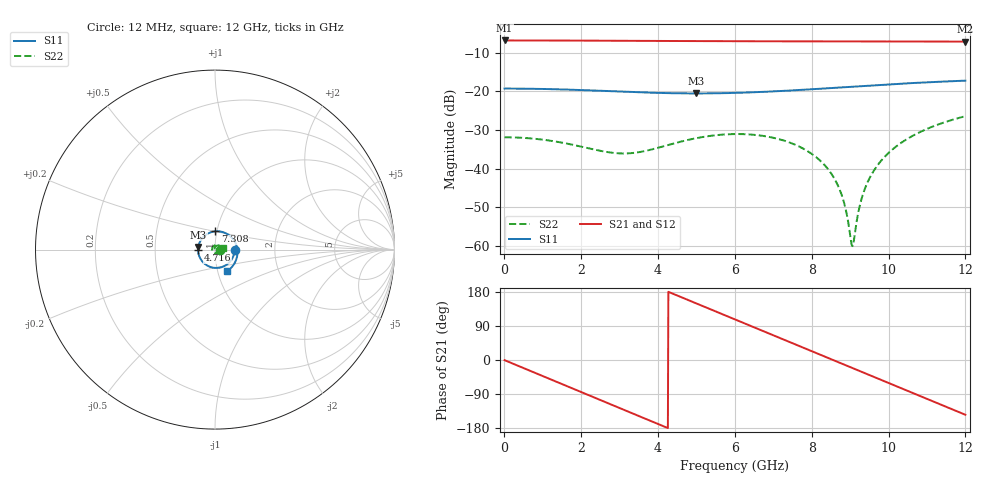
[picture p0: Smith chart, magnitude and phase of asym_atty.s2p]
! 2-Port simulation of an asymmetrically matched attenuator
# GHz S MA R 50
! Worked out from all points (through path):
!   1000 points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, 12 MHz to 12 GHz, reference 50 ohm
!   highest |S21| = -6.82 dB at 12 MHz (marker M1); lowest = -7.1 dB at 12 GHz (marker M2)
!   group delay of S21, straight-line fit = 117 ps
!   lowest |S11| = -20.5 dB at 5.004 GHz (marker M3), VSWR 1.21, Z = 41.5 + j1.25 ohm
!   |S11| at or under -10 dB: start of sweep to end of sweep
!   |S22| runs from -60.0 to -26.4 dB; largest |S21 - S12| = 9e-06
!   S11 on the Smith chart (normalised r, x): 12 MHz: 1.24, -0.00; 4.716 GHz: 0.83, -0.01; 7.308 GHz: 0.98, +0.20; 12 GHz: 1.11, -0.27
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0.012  0.1088 -0.4  0.4561 -0.5  0.4561 -0.5  0.02551 -0.5
0.9  0.1078 -31.7  0.4557 -38.0  0.4557 -38.0  0.02409 -35.4
2.016  0.1041 -72.2  0.4541 -85.2  0.4541 -85.2  0.01925 -87.5
2.916  0.09997 -106.5  0.4522 -123.1  0.4522 -123.1  0.01589 -145.2
4.008  0.09563 -149.7  0.4496 -169.0  0.4496 -169.0  0.01868 136.9
4.716  0.09425 -177.8  0.448 161.3  0.448 161.3  0.02316 97.2
5.004  0.09412 170.9  0.4474 149.2  0.4474 149.2  0.02486 83.2
6.012  0.0957 132.9  0.4457 107.0  0.4457 107.0  0.02808 39.9
7.308  0.1018 88.6  0.4445 52.6  0.4445 52.6  0.02286 -9.9
8.004  0.1066 66.6  0.4441 23.4  0.4441 23.4  0.01554 -36.1
8.388  0.1096 54.8  0.4439 7.3  0.4439 7.3  0.01041 -51.4
8.676  0.112 46.0  0.4437 -4.8  0.4437 -4.8  0.006183 -65.3
8.844  0.1134 40.8  0.4436 -11.9  0.4436 -11.9  0.003624 -77.8
9.012  0.1149 35.7  0.4435 -18.9  0.4435 -18.9  0.00127 -119.3
9.06  0.1153 34.2  0.4435 -21.0  0.4435 -21.0  0.0009954 -159.0
9.108  0.1157 32.8  0.4435 -23.0  0.4435 -23.0  0.001266 160.9
9.264  0.117 28.0  0.4433 -29.5  0.4433 -29.5  0.003516 120.1
9.42  0.1184 23.2  0.4432 -36.1  0.4432 -36.1  0.006084 107.7
9.672  0.1205 15.5  0.443 -46.7  0.443 -46.7  0.01035 95.1
10.008  0.1234 5.0  0.4426 -60.8  0.4426 -60.8  0.01612 81.6
10.968  0.1308 -25.6  0.4416 -101.2  0.4416 -101.2  0.03221 46.7
12  0.1378 -60.1  0.4409 -144.5  0.4409 -144.5  0.04778 9.2
